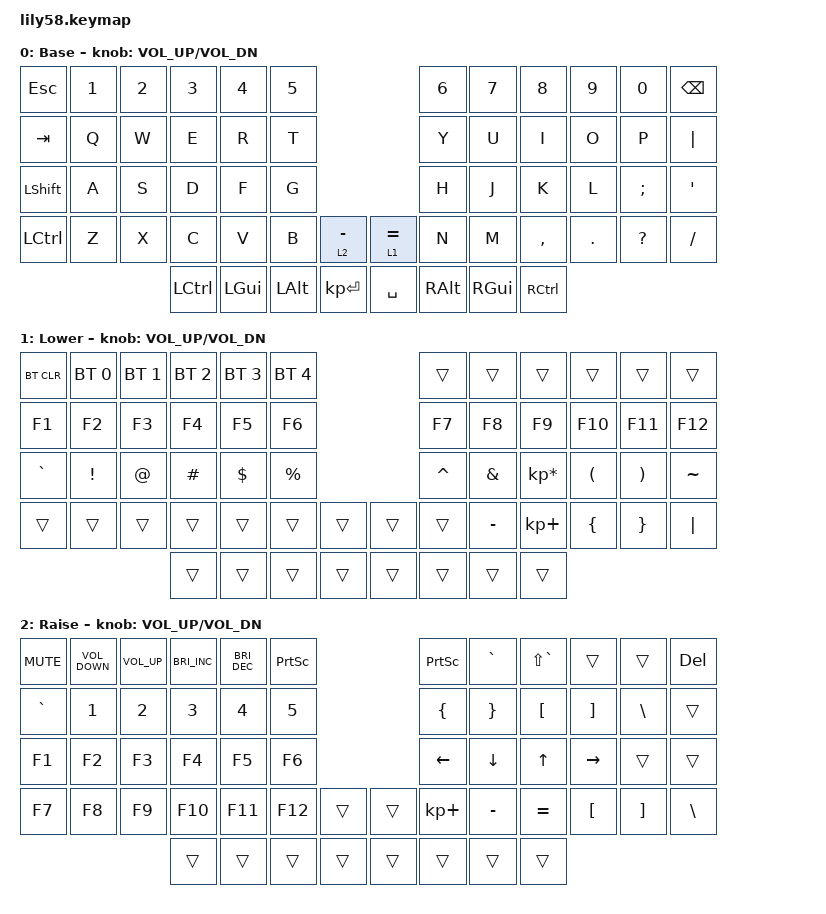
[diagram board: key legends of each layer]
/*
 * Copyright (c) 2020 The ZMK Contributors
 *
 * SPDX-License-Identifier: MIT
 */

#include <behaviors.dtsi>
#include <dt-bindings/zmk/bt.h>
#include <dt-bindings/zmk/keys.h>

/ {
    keymap {
        compatible = "zmk,keymap";

        default_layer {
            // ------------------------------------------------------------------------------------------------------------
            // |  ESC  |  1  |  2  |  3   |  4   |  5   |                   |  6   |  7    |  8    |  9   |   0   |   `   |
            // |  TAB  |  Q  |  W  |  E   |  R   |  T   |                   |  Y   |  U    |  I    |  O   |   P   |   -   |
            // |  CTRL |  A  |  S  |  D   |  F   |  G   |                   |  H   |  J    |  K    |  L   |   ;   |   '   |
            // | SHIFT |  Z  |  X  |  C   |  V   |  B   |   "["  |  |  "]"  |  N   |  M    |  ,    |  .   |   /   | SHIFT |
            //                     | ALT  | GUI  | LOWER|  SPACE |  | ENTER | RAISE| BSPC  | GUI   |

            display-name = "Base";
            bindings = <
&kp ESC           &kp N1  &kp N2  &kp N3            &kp N4    &kp N5                                     &kp N6         &kp N7    &kp N8             &kp N9      &kp N0        &kp BACKSPACE
&kp TAB           &kp Q   &kp W   &kp E             &kp R     &kp T                                      &kp Y          &kp U     &kp I              &kp O       &kp P         &kp PIPE
&kp LEFT_SHIFT    &kp A   &kp S   &kp D             &kp F     &kp G                                      &kp H          &kp J     &kp K              &kp L       &kp SEMI      &kp SINGLE_QUOTE
&kp LEFT_CONTROL  &kp Z   &kp X   &kp C             &kp V     &kp B         &lt 2 MINUS     &lt 1 EQUAL  &kp N          &kp M     &kp COMMA          &kp PERIOD  &kp QUESTION  &kp SLASH
                                  &kp LEFT_CONTROL  &kp LGUI  &kp LEFT_ALT  &kp KP_ENTER    &kp SPACE    &kp RIGHT_ALT  &kp RGUI  &kp RIGHT_CONTROL
            >;

            sensor-bindings = <&inc_dec_kp C_VOL_UP C_VOL_DN>;
        };

        lower_layer {
            // ------------------------------------------------------------------------------------------------------------
            // | BTCLR | BT1 | BT2 |  BT3 |  BT4 |  BT5 |                   |      |       |       |      |       |       |
            // |  F1   |  F2 |  F3 |  F4  |  F5  |  F6  |                   |  F7  |  F8   |  F9   |  F10 |  F11  |  F12  |
            // |   `   |  !  |  @  |  #   |  $   |  %   |                   |  ^   |  &    |  *    |  (   |   )   |   ~   |
            // |       |     |     |      |      |      |        |  |       |      |  _    |  +    |  {   |   }   |  "|"  |
            //                     |      |      |      |        |  |       |      |       |       |

            display-name = "Lower";
            bindings = <
&bt BT_CLR  &bt BT_SEL 0  &bt BT_SEL 1  &bt BT_SEL 2  &bt BT_SEL 3  &bt BT_SEL 4                    &trans     &trans     &trans           &trans    &trans    &trans
&kp F1      &kp F2        &kp F3        &kp F4        &kp F5        &kp F6                          &kp F7     &kp F8     &kp F9           &kp F10   &kp F11   &kp F12
&kp GRAVE   &kp EXCL      &kp AT        &kp HASH      &kp DOLLAR    &kp PRCNT                       &kp CARET  &kp AMPS   &kp KP_MULTIPLY  &kp LPAR  &kp RPAR  &kp TILDE
&trans      &trans        &trans        &trans        &trans        &trans        &trans    &trans  &trans     &kp MINUS  &kp KP_PLUS      &kp LBRC  &kp RBRC  &kp PIPE
                                        &trans        &trans        &trans        &trans    &trans  &trans     &trans     &trans
            >;

            sensor-bindings = <&inc_dec_kp C_VOL_UP C_VOL_DN>;
        };

        raise_layer {
            // ------------------------------------------------------------------------------------------------------------
            // |       |     |     |      |      |      |                   |      |       |       |      |       |       |
            // |   `   |  1  |  2  |  3   |  4   |  5   |                   |  6   |   7   |   8   |  9   |   0   |       |
            // |   F1  |  F2 |  F3 |  F4  |  F5  |  F6  |                   |      |   <-  |   v   |  ^   |  ->   |       |
            // |   F7  |  F8 |  F9 |  F10 |  F11 |  F12 |        |  |       |  +   |   -   |   =   |  [   |   ]   |   \   |
            //                     |      |      |      |        |  |       |      |       |       |

            display-name = "Raise";
            bindings = <
&kp K_MUTE  &kp C_VOLUME_DOWN  &kp C_VOLUME_UP  &kp C_BRIGHTNESS_INC  &kp C_BRIGHTNESS_DEC  &kp PRINTSCREEN                    &kp PRINTSCREEN  &kp GRAVE        &kp LS(GRAVE)     &trans             &trans         &kp DELETE
&kp GRAVE   &kp N1             &kp N2           &kp N3                &kp N4                &kp N5                             &kp LEFT_BRACE   &kp RIGHT_BRACE  &kp LEFT_BRACKET  &kp RIGHT_BRACKET  &kp BACKSLASH  &trans
&kp F1      &kp F2             &kp F3           &kp F4                &kp F5                &kp F6                             &kp LEFT_ARROW   &kp DOWN_ARROW   &kp UP_ARROW      &kp RIGHT          &trans         &trans
&kp F7      &kp F8             &kp F9           &kp F10               &kp F11               &kp F12          &trans    &trans  &kp KP_PLUS      &kp MINUS        &kp EQUAL         &kp LBKT           &kp RBKT       &kp BSLH
                                                &trans                &trans                &trans           &trans    &trans  &trans           &trans           &trans
            >;

            sensor-bindings = <&inc_dec_kp C_VOL_UP C_VOL_DN>;
        };
    };
};
